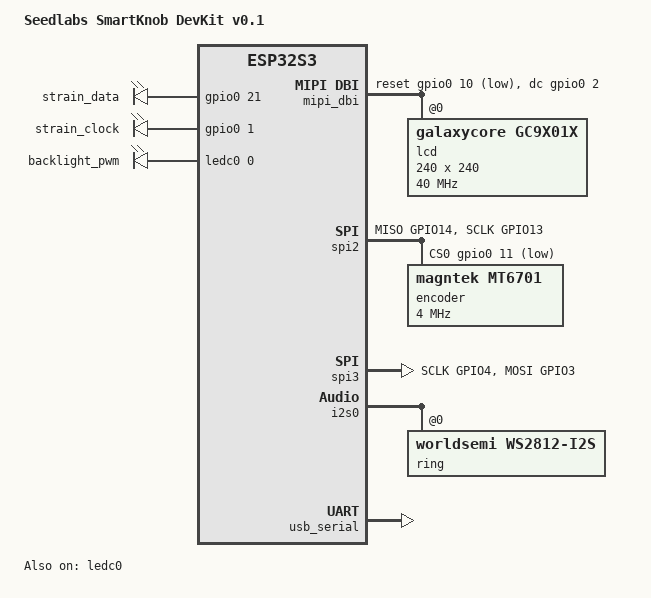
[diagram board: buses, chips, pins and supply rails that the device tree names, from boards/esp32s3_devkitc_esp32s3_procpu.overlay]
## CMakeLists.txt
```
cmake_minimum_required(VERSION 3.24)
# LVGL 9.6 changed its Kconfig choices and source layout. Compile the pinned
# library directly with our adapter; Zephyr 4.4's 9.5 integration cannot load it.
set(SK_LVGL_DIR "${CMAKE_CURRENT_LIST_DIR}/../../modules/lib/gui/lvgl" CACHE PATH "LVGL source")
set(ZEPHYR_MODULES "${CMAKE_CURRENT_LIST_DIR}/../../modules/hal/espressif")
list(APPEND DTS_ROOT ${CMAKE_CURRENT_LIST_DIR})
find_package(Zephyr REQUIRED HINTS $ENV{ZEPHYR_BASE})
project(smartknob)
file(GLOB_RECURSE LVGL_SOURCES CONFIGURE_DEPENDS "${SK_LVGL_DIR}/src/*.c")
zephyr_library_named(sk_lvgl)
zephyr_library_sources(${LVGL_SOURCES})
zephyr_library_include_directories(${SK_LVGL_DIR} ${SK_LVGL_DIR}/include)
zephyr_library_compile_definitions(LV_CONF_PATH="${CMAKE_CURRENT_SOURCE_DIR}/lv_conf.h")
target_link_libraries(app PUBLIC sk_lvgl)
target_include_directories(app PRIVATE ${SK_LVGL_DIR} ${SK_LVGL_DIR}/include)
target_compile_definitions(app PRIVATE LV_CONF_PATH="${CMAKE_CURRENT_SOURCE_DIR}/lv_conf.h")
target_include_directories(app PRIVATE ../core/include src)
target_sources(app PRIVATE src/main.c src/motor.c src/sensors.c src/storage.c
  ../core/src/project.c ../core/src/haptics.c ../core/src/leds.c
  ../core/src/protocol.c ../core/src/render.c ../core/src/encoder.c)
```

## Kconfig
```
mainmenu "SmartKnob"
source "Kconfig.zephyr"
config SK_PRESS_THRESHOLD
    int "HX711 press threshold in raw ADC counts"
    default 50000
    range 100 8000000
config SK_MOTOR_DEADTIME_NS
    int "Motor gate dead time in nanoseconds"
    default 500
    range 250 1500
```

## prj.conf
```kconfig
CONFIG_GPIO=y
CONFIG_SPI=y
CONFIG_I2S=y
CONFIG_DMA=y
CONFIG_LED_STRIP=y
CONFIG_DISPLAY=y
CONFIG_LVGL=n
CONFIG_SERIAL=y
CONFIG_UART_INTERRUPT_DRIVEN=y
CONFIG_CONSOLE=n
CONFIG_UART_CONSOLE=n
CONFIG_LOG=n
CONFIG_FLASH=y
CONFIG_FLASH_MAP=y
CONFIG_NVS=y
CONFIG_NVS_DATA_CRC=y
CONFIG_PWM=y
CONFIG_MCPWM_ESP32=n
CONFIG_FPU=y
CONFIG_FPU_SHARING=y
CONFIG_PICOLIBC=y
CONFIG_MAIN_STACK_SIZE=8192
CONFIG_MAIN_THREAD_PRIORITY=7
CONFIG_SYSTEM_WORKQUEUE_STACK_SIZE=2048
CONFIG_HEAP_MEM_POOL_SIZE=8192
CONFIG_SYS_CLOCK_TICKS_PER_SEC=1000
CONFIG_ESP_SPIRAM=n
CONFIG_WIFI=n
CONFIG_BT=n
CONFIG_WATCHDOG=y
```

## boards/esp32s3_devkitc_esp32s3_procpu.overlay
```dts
#include <zephyr/dt-bindings/display/panel.h>
#include <zephyr/dt-bindings/led/led.h>
#include <zephyr/dt-bindings/pwm/pwm.h>
/ {
    model = "Seedlabs SmartKnob DevKit v0.1";
    chosen { zephyr,display = &lcd; };
    aliases { led-strip = &ring; };
    strain {
        compatible = "gpio-leds";
        strain_data: data { gpios = <&gpio0 21 GPIO_ACTIVE_HIGH>; };
        strain_clock: clock { gpios = <&gpio0 1 GPIO_ACTIVE_HIGH>; };
    };
    backlight { compatible = "pwm-leds"; backlight_pwm: backlight { pwms = <&ledc0 0 PWM_USEC(25) PWM_POLARITY_NORMAL>; }; };
    mipi_dbi {
        compatible = "zephyr,mipi-dbi-spi";
        #address-cells = <1>;
        #size-cells = <0>;
        spi-dev = <&spi3>;
        dc-gpios = <&gpio0 2 GPIO_ACTIVE_HIGH>;
        reset-gpios = <&gpio0 10 GPIO_ACTIVE_LOW>;
        lcd: display@0 {
            compatible = "galaxycore,gc9x01x";
            reg = <0>;
            mipi-max-frequency = <40000000>;
            pixel-format = <PANEL_PIXEL_FORMAT_RGB_565>;
            width = <240>;
            height = <240>;
            display-inversion;
        };
    };
};
&pinctrl {
    knob_encoder: encoder {
        group1 { pinmux = <SPIM2_MISO_GPIO14>, <SPIM2_SCLK_GPIO13>; };
    };
    knob_display: display {
        group1 { pinmux = <SPIM3_SCLK_GPIO4>; };
        group2 { pinmux = <SPIM3_MOSI_GPIO3>; output-low; };
    };
    knob_leds: leds {
        group1 { pinmux = <I2S0_O_SD_GPIO12>, <I2S0_O_WS_GPIO40>, <I2S0_O_BCK_GPIO41>; };
    };
    knob_backlight: backlight {
        group1 { pinmux = <LEDC_CH0_GPIO5>; output-low; };
    };
};
&spi2 {
    status = "okay";
    pinctrl-0 = <&knob_encoder>;
    cs-gpios = <&gpio0 11 GPIO_ACTIVE_LOW>;
    encoder: encoder@0 { compatible = "magntek,mt6701"; reg = <0>; spi-max-frequency = <4000000>; spi-cs-setup-delay-ns = <1000>; };
};
&spi3 {
    status = "okay";
    pinctrl-0 = <&knob_display>;
    cs-gpios = <&gpio0 9 GPIO_ACTIVE_LOW>;
};
&i2s0 {
    status = "okay";
    pinctrl-0 = <&knob_leds>;
    #address-cells = <1>;
    #size-cells = <0>;
    ring: led_strip@0 {
        reg = <0>;
        compatible = "worldsemi,ws2812-i2s";
        chain-length = <72>;
        color-mapping = <LED_COLOR_ID_GREEN LED_COLOR_ID_RED LED_COLOR_ID_BLUE>;
        reset-delay = <80>;
        nibble-one = <0x0c>;
        nibble-zero = <0x08>;
        lrck-period = <10>;
    };
};
&ledc0 {
    status = "okay";
    pinctrl-0 = <&knob_backlight>;
    pinctrl-names = "default";
    #address-cells = <1>;
    #size-cells = <0>;
    channel@0 { reg = <0>; timer = <0>; };
};
&usb_serial { status = "okay"; };
&usb_otg { status = "disabled"; };
&uart0 { status = "disabled"; };
&wifi { status = "disabled"; };
&esp32_bt_hci { status = "disabled"; };
&psram0 { size = <DT_SIZE_M(8)>; };
&flash0 {
    reg = <0x0 DT_SIZE_M(16)>;
    partitions {
        /delete-node/ partition@3b0000;
        storage_partition: partition@f00000 { label = "storage"; reg = <0xf00000 0x40000>; };
    };
};

&dma { status = "okay"; };
```

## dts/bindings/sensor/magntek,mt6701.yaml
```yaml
description: MagnTek MT6701 24-bit SSI absolute angle encoder
compatible: "magntek,mt6701"
include: spi-device.yaml
```

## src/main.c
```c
#include "hardware.h"
#include "sk_protocol.h"
#include "sk_render.h"
#include <string.h>
#include <zephyr/drivers/display.h>
#include <zephyr/drivers/led_strip.h>
#include <zephyr/drivers/pwm.h>
#include <zephyr/drivers/uart.h>
#include <zephyr/drivers/watchdog.h>
#include <zephyr/sys/atomic.h>
#include <zephyr/sys/ring_buffer.h>

static sk_project projects[2];
static unsigned active;
static const sk_view *view;
static sk_renderer renderer;
static sk_protocol protocol;
static uint8_t system_faults;
static bool motor_ready, strain_ready;
static uint16_t presses;
static uint32_t flash_until;
static const struct device *serial = DEVICE_DT_GET(DT_NODELABEL(usb_serial));
static const struct device *strip = DEVICE_DT_GET(DT_ALIAS(led_strip));
static const struct device *display = DEVICE_DT_GET(DT_CHOSEN(zephyr_display));
static uint8_t draw_buffer[240 * 24 * 2] __aligned(4);
static uint32_t lv_ticks(void) {
    return k_uptime_get_32();
}
static void display_flush(lv_display_t *disp, const lv_area_t *area, uint8_t *map) {
    struct display_buffer_descriptor desc = {.width = area->x2 - area->x1 + 1,
                                             .height = area->y2 - area->y1 + 1};
    desc.pitch = desc.width;
    desc.buf_size = desc.width * desc.height * 2;
    lv_draw_sw_rgb565_swap(map, desc.width * desc.height);
    if (display_write(display, area->x1, area->y1, &desc, map))
        system_faults |= FAULT_DISPLAY;
    lv_display_flush_ready(disp);
}
static const struct pwm_dt_spec backlight = PWM_DT_SPEC_GET(DT_NODELABEL(backlight_pwm));
RING_BUF_DECLARE(serial_rx, 8192);
static atomic_t rx_overflow;
static void serial_isr(const struct device *dev, void *arg) {
    (void)arg;
    while (uart_irq_update(dev) && uart_irq_rx_ready(dev)) {
        uint8_t bytes[64];
        int n = uart_fifo_read(dev, bytes, sizeof(bytes));
        if (n <= 0)
            break;
        if (ring_buf_put(&serial_rx, bytes, n) != (uint32_t)n)
            atomic_set(&rx_overflow, 1);
    }
}
static void send(void *ctx, const uint8_t *bytes, size_t len) {
    (void)ctx;
    for (size_t i = 0; i < len; i++)
        uart_poll_out(serial, bytes[i]);
}
typedef struct {
    sk_led_config leds;
    sk_haptic_config haptic;
    int32_t position;
    float sub;
    uint32_t flash;
} led_state;
static led_state ring_state;
static struct k_spinlock led_lock;
static atomic_t led_fault;
static struct k_thread led_thread;
K_THREAD_STACK_DEFINE(led_stack, 2048);
static void led_run(void *a, void *b, void *c) {
    (void)a;
    (void)b;
    (void)c;
    while (true) {
        led_state s;
        k_spinlock_key_t key = k_spin_lock(&led_lock);
        s = ring_state;
        k_spin_unlock(&led_lock, key);
        sk_rgb colors[72];
        struct led_rgb pixels[72];
        sk_led_render(&s.leds, &s.haptic, s.position, s.sub, k_uptime_get_32(), s.flash, colors);
        for (int i = 0; i < 72; i++)
            pixels[i] = (struct led_rgb){.r = colors[i].r, .g = colors[i].g, .b = colors[i].b};
        atomic_set(&led_fault, led_strip_update_rgb(strip, pixels, 72) != 0);
        k_sleep(K_MSEC(33));
    }
}
static bool select_view(uint16_t id) {
    const sk_view *next = sk_find_view(&projects[active], id);
    if (!next)
        return false;
    motor_status s;
    motor_snapshot(&s);
    if (s.calibration == 1)
        return false;
    if (motor_ready && !motor_configure(&next->haptic))
        return false;
    view = next;
    sk_render_view(&renderer, view);
    if (view->leds.mode_flash)
        flash_until = k_uptime_get_32() + 180;
    return true;
}
static bool apply(void *ctx, const uint8_t *bytes, size_t len) {
    (void)ctx;
    motor_status s;
    motor_snapshot(&s);
    if (s.calibration == 1)
        return false;
    unsigned next = 1 - active;
    if (!sk_project_decode(bytes, len, &projects[next]))
        return false;
    const sk_view *new_view = sk_find_view(&projects[next], projects[next].start_view);
    if (motor_ready && !motor_configure(&new_view->haptic))
        return false;
    active = next;
    view = new_view;
    sk_render_view(&renderer, view);
    if (view->leds.mode_flash)
        flash_until = k_uptime_get_32() + 180;
    return true;
}
static bool save(void *ctx, const uint8_t *bytes, size_t len) {
    (void)ctx;
    motor_status s;
    motor_snapshot(&s);
    if (s.calibration == 1)
        return false;
    if (motor_ready && !motor_pause(true))
        return false;
    bool ok = storage_save(bytes, len);
    if (motor_ready)
        motor_pause(false);
    if (!ok)
        system_faults |= FAULT_STORAGE;
    return ok;
}
static void put32(uint8_t *p, uint32_t v) {
    for (int i = 0; i < 4; i++)
        p[i] = v >> (8 * i);
}
static void putfloat(uint8_t *p, float v) {
    uint32_t bits;
    memcpy(&bits, &v, 4);
    put32(p, bits);
}
static uint8_t command(void *ctx, uint8_t op, const uint8_t *bytes, size_t len, uint8_t *out,
                       size_t *out_len) {
    (void)ctx;
    if (op == SK_SELECT) {
        if (len != 2)
            return SK_INVALID;
        return select_view(bytes[0] | ((uint16_t)bytes[1] << 8)) ? SK_OK : SK_BUSY;
    }
    if (len)
        return SK_INVALID;
    if (op == SK_ENCODER_DIAGNOSTICS) {
        *out_len = encoder_diagnostic_text((char *)out, SK_MAX_PAYLOAD - 1);
        return SK_OK;
    }
    if (op == SK_STATE) {
        motor_status s;
        motor_snapshot(&s);
        memset(out, 0, 28);
        out[0] = view->id;
        out[1] = view->id >> 8;
        put32(out + 2, (uint32_t)s.position);
        putfloat(out + 6, s.sub);
        out[10] = s.faults | system_faults | (strain_failed() ? FAULT_STRAIN : 0) |
                  (atomic_get(&led_fault) ? FAULT_LED : 0);
        out[11] = s.calibration;
        put32(out + 12, s.loops);
        putfloat(out + 16, s.voltage);
        putfloat(out + 20, s.max_loop_us);
        out[24] = presses;
        out[25] = presses >> 8;
        *out_len = 28;
        return SK_OK;
    }
    if (op == SK_TARE)
        return strain_ready && strain_tare() ? SK_OK : SK_HARDWARE;
    if (!motor_ready)
        return SK_HARDWARE;
    if (op == SK_CALIBRATE)
        return motor_calibrate() ? SK_OK : SK_BUSY;
    if (op == SK_STOP)
        return motor_enable(false) ? SK_OK : SK_BUSY;
    if (op == SK_ENABLE) {
        motor_status s;
        motor_snapshot(&s);
        if (s.calibration != 2)
            return SK_HARDWARE;
        return motor_enable(true) ? SK_OK : SK_BUSY;
    }
    return SK_INVALID;
}
int main(void) {
    if (!device_is_ready(display))
        return -ENODEV;
    lv_init();
    lv_tick_set_cb(lv_ticks);
    lv_display_t *disp = lv_display_create(240, 240);
    lv_display_set_color_format(disp, LV_COLOR_FORMAT_RGB565);
    lv_display_set_buffers(disp, draw_buffer, NULL, sizeof(draw_buffer),
                           LV_DISPLAY_RENDER_MODE_PARTIAL);
    lv_display_set_flush_cb(disp, display_flush);
    if (storage_init())
        system_faults |= FAULT_STORAGE;
    motor_ready = motor_start() == 0;
    if (!motor_ready)
        system_faults |= FAULT_MOTOR;
    strain_ready = strain_start() == 0;
    if (!strain_ready)
        system_faults |= FAULT_STRAIN;
    sk_project_default(&projects[0]);
    sk_protocol_init(
        &protocol,
        (sk_protocol_ops){.send = send, .apply = apply, .save = save, .command = command});
    size_t len = storage_load(protocol.active, sizeof(protocol.active));
    if (len && sk_project_decode(protocol.active, len, &projects[1])) {
        active = 1;
        protocol.active_len = len;
    }
    select_view(projects[active].start_view);
    display_blanking_off(display);
    if (pwm_is_ready_dt(&backlight))
        pwm_set_pulse_dt(&backlight, backlight.period / 2);
    if (device_is_ready(serial)) {
        uart_irq_callback_user_data_set(serial, serial_isr, NULL);
        uart_irq_rx_enable(serial);
    }
    if (device_is_ready(strip))
        k_thread_create(&led_thread, led_stack, K_THREAD_STACK_SIZEOF(led_stack), led_run, NULL,
                        NULL, NULL, 8, K_FP_REGS, K_NO_WAIT);
    else
        system_faults |= FAULT_LED;
    const struct device *watchdog = DEVICE_DT_GET(DT_ALIAS(watchdog0));
    struct wdt_timeout_cfg timeout = {.window = {.min = 0, .max = 2000},
                                      .flags = WDT_FLAG_RESET_SOC};
    int watchdog_channel = wdt_install_timeout(watchdog, &timeout);
    if (watchdog_channel >= 0)
        wdt_setup(watchdog, WDT_OPT_PAUSE_HALTED_BY_DBG);
    uint32_t last_frame = 0;
    uint32_t last_calibration_save = 0, motor_seen_at = k_uptime_get_32(), motor_seen_loops = 0;
    while (true) {
        if (atomic_cas(&rx_overflow, 1, 0)) {
            unsigned key = irq_lock();
            ring_buf_reset(&serial_rx);
            irq_unlock(key);
            protocol.rx_len = 0;
            protocol.uploading = false;
        }
        uint8_t bytes[512];
        uint32_t n = ring_buf_get(&serial_rx, bytes, sizeof(bytes));
        if (n)
            sk_protocol_feed(&protocol, bytes, n);
        uint8_t event;
        while ((event = strain_event())) {
            if (event == 1) {
                presses++;
                motor_pulse(true, false);
                if (view->leds.press_flash)
                    flash_until = k_uptime_get_32() + 180;
            } else if (event == 3) {
                motor_pulse(true, true);
                if (view->on_long_press)
                    select_view(view->on_long_press);
            } else if (event == 2) {
                motor_pulse(false, false);
                if (view->on_press)
                    select_view(view->on_press);
            } else if (event == 4)
                motor_pulse(false, false);
        }
        if (motor_ready && motor_calibration_dirty() &&
            (last_calibration_save == 0 || k_uptime_get_32() - last_calibration_save >= 5000)) {
            last_calibration_save = k_uptime_get_32();
            sk_calibration cal;
            if (motor_get_calibration(&cal) && motor_pause(true)) {
                if (storage_save_calibration(&cal))
                    motor_calibration_saved();
                else
                    system_faults |= FAULT_STORAGE;
                motor_pause(false);
            }
        }
        uint32_t now = k_uptime_get_32();
        if (now - last_frame >= 33) {
            last_frame = now;
            motor_status s;
            motor_snapshot(&s);
            sk_render_value(&renderer, s.position, s.sub);
            lv_timer_handler();
            k_spinlock_key_t key = k_spin_lock(&led_lock);
            ring_state = (led_state){.leds = view->leds,
                                     .haptic = view->haptic,
                                     .position = s.position,
                                     .sub = s.sub,
                                     .flash = flash_until};
            k_spin_unlock(&led_lock, key);
        }
        motor_status alive;
        motor_snapshot(&alive);
        if (alive.loops != motor_seen_loops) {
            motor_seen_loops = alive.loops;
            motor_seen_at = now;
        }
        if (watchdog_channel >= 0 && (!motor_ready || now - motor_seen_at < 200))
            wdt_feed(watchdog, watchdog_channel);
        k_sleep(K_MSEC(1));
    }
}
```

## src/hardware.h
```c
#ifndef SK_HARDWARE_H
#define SK_HARDWARE_H
#include "sk.h"
#include <zephyr/kernel.h>
enum {
    FAULT_ENCODER = 1,
    FAULT_TIMING = 2,
    FAULT_MOTOR = 4,
    FAULT_STRAIN = 8,
    FAULT_LED = 16,
    FAULT_STORAGE = 32,
    FAULT_DISPLAY = 64
};
typedef struct {
    int32_t position;
    float sub, voltage, max_loop_us;
    uint32_t loops;
    uint8_t faults, calibration;
} motor_status;
int motor_start(void);
bool motor_configure(const sk_haptic_config *c);
bool motor_calibrate(void);
bool motor_enable(bool enable);
bool motor_pause(bool pause);
void motor_pulse(bool pressed, bool long_press);
void motor_snapshot(motor_status *out);
bool motor_get_calibration(sk_calibration *out);
bool motor_calibration_dirty(void);
void motor_calibration_saved(void);
int encoder_init(void);
int encoder_read(float *angle);
size_t encoder_diagnostic_text(char *out, size_t size);
int strain_start(void);
bool strain_tare(void);
uint8_t strain_event(void); /* 1 press, 2 release, 3 long, 4 long release */
bool strain_failed(void);
int storage_init(void);
size_t storage_load(uint8_t *out, size_t max);
bool storage_save(const uint8_t *data, size_t len);
bool storage_load_calibration(sk_calibration *out);
bool storage_save_calibration(const sk_calibration *c);
#endif
```

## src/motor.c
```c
#include "hardware.h"
#include <esp_rom_gpio.h>
#include <hal/mcpwm_ll.h>
#include <math.h>
#include <soc/gpio_sig_map.h>
#include <string.h>
#include <zephyr/drivers/clock_control.h>
#include <zephyr/drivers/gpio.h>
#include <zephyr/sys/atomic.h>

/* Three operators share one 160 MHz center-aligned timer (20 kHz).
 * Two compare edges per phase produce complementary outputs with 500 ns
 * non-overlap on both transitions. Updates latch together at timer zero.
 * This controller exclusively owns MCPWM0; the generic PWM driver is disabled. */
#define PWM_PEAK 4000u
static const uint8_t pins[6] = {8, 16, 18, 7, 17, 15};
static mcpwm_dev_t *pwm;
static const struct device *gpio = DEVICE_DT_GET(DT_NODELABEL(gpio0));
static bool pwm_ready, pwm_enabled;
static void gates_off(void) {
    if (!pwm_ready || !pwm_enabled)
        return;
    for (int phase = 0; phase < 3; phase++)
        for (int gen = 0; gen < 2; gen++)
            mcpwm_ll_gen_set_continue_force_level(pwm, phase, gen, 0);
    pwm_enabled = false;
}
static void gates_on(void) {
    if (!pwm_ready || pwm_enabled)
        return;
    for (int phase = 0; phase < 3; phase++)
        for (int gen = 0; gen < 2; gen++)
            mcpwm_ll_gen_disable_continue_force_action(pwm, phase, gen);
    pwm_enabled = true;
}
static void duties(const float duty[3]) {
    unsigned dead = (CONFIG_SK_MOTOR_DEADTIME_NS * 160u + 999u) / 1000u;
    unsigned key = irq_lock();
    /* Freeze all comparator latches while assembling the next vector. */
    pwm->update_cfg.global_up_en = 0;
    for (int phase = 0; phase < 3; phase++) {
        unsigned a, b;
        sk_pwm_compare(duty[phase], PWM_PEAK, dead, &a, &b);
        mcpwm_ll_operator_set_compare_value(pwm, phase, 0, a);
        mcpwm_ll_operator_set_compare_value(pwm, phase, 1, b);
    }
    pwm->update_cfg.global_up_en = 1;
    irq_unlock(key);
}
static int pwm_init(void) {
    if (!device_is_ready(gpio))
        return -ENODEV;
    for (int i = 0; i < 6; i++) {
        int rc = gpio_pin_configure(gpio, pins[i], GPIO_OUTPUT_INACTIVE);
        if (rc)
            return rc;
    }
    const struct device *clock = DEVICE_DT_GET(DT_CLOCKS_CTLR(DT_NODELABEL(mcpwm0)));
    int rc = clock_control_on(clock,
                              (clock_control_subsys_t)DT_CLOCKS_CELL(DT_NODELABEL(mcpwm0), offset));
    if (rc)
        return rc;
    pwm = MCPWM_LL_GET_HW(0);
    mcpwm_ll_group_enable_clock(0, true);
    mcpwm_ll_group_set_clock_source(0, MCPWM_TIMER_CLK_SRC_DEFAULT);
    mcpwm_ll_group_set_clock_prescale(0, 1);
    mcpwm_ll_timer_set_clock_prescale(pwm, 0, 1);
    mcpwm_ll_timer_set_count_mode(pwm, 0, MCPWM_TIMER_COUNT_MODE_UP_DOWN);
    mcpwm_ll_timer_set_peak(pwm, 0, PWM_PEAK, false);
    mcpwm_ll_timer_update_period_at_once(pwm, 0);
    for (int phase = 0; phase < 3; phase++) {
        mcpwm_ll_operator_connect_timer(pwm, phase, 0);
        for (int gen = 0; gen < 2; gen++) {
            mcpwm_ll_generator_reset_actions(pwm, phase, gen);
            mcpwm_ll_gen_set_continue_force_level(pwm, phase, gen, 0);
            mcpwm_ll_deadtime_bypass_path(pwm, phase, gen, true);
            mcpwm_ll_deadtime_invert_outpath(pwm, phase, gen, false);
            mcpwm_ll_deadtime_swap_out_path(pwm, phase, gen, false);
            mcpwm_ll_operator_stop_update_compare(pwm, phase, gen, false);
            mcpwm_ll_operator_enable_update_compare_on_tez(pwm, phase, gen, true);
            mcpwm_ll_generator_set_action_on_timer_event(
                pwm, phase, gen, MCPWM_TIMER_DIRECTION_UP, MCPWM_TIMER_EVENT_EMPTY,
                gen ? MCPWM_GEN_ACTION_LOW : MCPWM_GEN_ACTION_HIGH);
        }
        mcpwm_ll_generator_set_action_on_compare_event(pwm, phase, 0, MCPWM_TIMER_DIRECTION_UP, 0,
                                                       MCPWM_GEN_ACTION_LOW);
        mcpwm_ll_generator_set_action_on_compare_event(pwm, phase, 0, MCPWM_TIMER_DIRECTION_DOWN, 0,
                                                       MCPWM_GEN_ACTION_HIGH);
        mcpwm_ll_generator_set_action_on_compare_event(pwm, phase, 1, MCPWM_TIMER_DIRECTION_UP, 1,
                                                       MCPWM_GEN_ACTION_HIGH);
        mcpwm_ll_generator_set_action_on_compare_event(pwm, phase, 1, MCPWM_TIMER_DIRECTION_DOWN, 1,
                                                       MCPWM_GEN_ACTION_LOW);
        esp_rom_gpio_connect_out_signal(pins[phase * 2], PWM0_OUT0A_IDX + phase * 2, false, false);
        esp_rom_gpio_connect_out_signal(pins[phase * 2 + 1], PWM0_OUT0B_IDX + phase * 2, false,
                                        false);
    }
    pwm_ready = true;
    const float neutral[3] = {.5f, .5f, .5f};
    duties(neutral);
    mcpwm_ll_group_enable_shadow_mode(pwm);
    mcpwm_ll_group_flush_shadow(pwm);
    mcpwm_ll_timer_set_start_stop_command(pwm, 0, MCPWM_TIMER_START_NO_STOP);
    gates_off();
    return 0;
}

enum command_type { CMD_CONFIG, CMD_PULSE, CMD_CALIBRATE, CMD_ENABLE };
typedef struct {
    uint8_t type;
    bool press, long_press;
    sk_haptic_config config;
} motor_command;
K_MSGQ_DEFINE(commands, sizeof(motor_command), 8, 4);
static struct k_thread thread;
K_THREAD_STACK_DEFINE(stack, 4096);
static struct k_spinlock status_lock;
static motor_status status;
static sk_calibration calibration;
static sk_haptic_state haptic;
static atomic_t pause_requested, paused, enabled, dirty, stop_requested;
K_SEM_DEFINE(control_tick, 0, 1);
static void timer_tick(struct k_timer *timer) {
    (void)timer;
    k_sem_give(&control_tick);
}
K_TIMER_DEFINE(control_timer, timer_tick, NULL);
static uint8_t calib_phase;
static float electrical, previous_raw, travel, start_travel, calib_start, end_mechanical;
static uint32_t calibration_tick;
static void snapshot(float elapsed, float voltage) {
    k_spinlock_key_t key = k_spin_lock(&status_lock);
    status.position = haptic.position;
    status.sub = haptic.sub_position;
    status.voltage = voltage;
    status.loops++;
    if (elapsed > status.max_loop_us)
        status.max_loop_us = elapsed;
    status.calibration = calib_phase ? 1 : calibration.valid ? 2 : 0;
    k_spin_unlock(&status_lock, key);
}
static void fault(uint8_t value) {
    k_spinlock_key_t key = k_spin_lock(&status_lock);
    status.faults |= value;
    k_spin_unlock(&status_lock, key);
    gates_off();
    atomic_clear(&enabled);
    calib_phase = 0;
}
static void drive(float q, float d, float angle) {
    float duty[3];
    sk_foc(q, d, angle, 5, duty);
    duties(duty);
    gates_on();
}
static void calibration_step(float raw, float feedback_angle) {
    /* Align d-axis, sweep three electrical turns, measure pole pairs, then
     * return to electrical zero. This state machine never blocks the loop. */
    calibration_tick++;
    travel += remainderf(raw - previous_raw, SK_TAU);
    previous_raw = raw;
    if (calib_phase == 1) {
        drive(0, 1.0f, 0);
        if (calibration_tick >= 800) {
            start_travel = travel;
            calib_start = raw;
            electrical = 0;
            calib_phase = 2;
            calibration_tick = 0;
        }
    } else if (calib_phase == 2) {
        electrical += .006f;
        drive(0, 1.0f, electrical);
        if (electrical >= 3 * SK_TAU) {
            calib_phase = 3;
            calibration_tick = 0;
        }
    } else if (calib_phase == 3) {
        drive(0, 1.0f, 3 * SK_TAU);
        if (calibration_tick >= 800) {
            float moved = travel - start_travel;
            float pairs = 3 * SK_TAU / fabsf(moved);
            if (!isfinite(pairs) || pairs < 2.8f || pairs > 12.2f) {
                fault(FAULT_MOTOR);
                return;
            }
            int rounded = (int)lroundf(pairs);
            if (!isfinite(pairs) || rounded < 3 || rounded > 12 || fabsf(pairs - rounded) > .2f) {
                fault(FAULT_MOTOR);
                return;
            }
            k_spinlock_key_t cal_key = k_spin_lock(&status_lock);
            calibration = (sk_calibration){
                .pole_pairs = rounded, .direction = moved > 0 ? 1 : -1, .valid = false};
            k_spin_unlock(&status_lock, cal_key);
            end_mechanical = raw;
            /* Both alignment endpoints must agree in electrical coordinates. */
            if (fabsf(remainderf((raw - calib_start) * rounded, SK_TAU)) > .35f) {
                fault(FAULT_MOTOR);
                return;
            }
            cal_key = k_spin_lock(&status_lock);
            calibration.zero_electrical = remainderf(raw * rounded * calibration.direction, SK_TAU);
            k_spin_unlock(&status_lock, cal_key);
            calib_phase = 4;
            calibration_tick = 0;
        }
    } else {
        drive(0, 1.0f, 0);
        if (calibration_tick >= 300) {
            if (fabsf(remainderf(raw - end_mechanical, SK_TAU)) > .1f) {
                fault(FAULT_MOTOR);
                return;
            }
            k_spinlock_key_t key = k_spin_lock(&status_lock);
            calibration.valid = true;
            k_spin_unlock(&status_lock, key);
            atomic_set(&dirty, 1);
            calib_phase = 0;
            sk_haptic_init(&haptic, &haptic.config, -feedback_angle);
            gates_off();
        }
    }
}
static void run(void *a, void *b, void *c) {
    (void)a;
    (void)b;
    (void)c;
    float raw = 0;
    sk_haptic_config default_config = {
        .mode = SK_FREE, .width_deg = 6, .snap = 1.1f, .endstop = .8f};
    sk_haptic_init(&haptic, &default_config, 0);
    /* The Xtensa timer has a 32-bit CCOUNT, not a 64-bit cycle counter.
     * Unsigned deltas handle its wrap every ~17.9 s at 240 MHz. */
    uint32_t last = k_cycle_get_32();
    uint32_t last_good = last;
    sk_angle_filter angle_filter = {0};
    sk_encoder_health encoder_health = {0};
    while (true) {
        k_sem_take(&control_tick, K_FOREVER);
        uint32_t begin = k_cycle_get_32();
        float dt = (float)k_cyc_to_us_floor64((uint32_t)(begin - last)) / 1000000;
        last = begin;
        if (atomic_get(&stop_requested)) {
            gates_off();
            atomic_clear(&enabled);
            calib_phase = 0;
            k_msgq_purge(&commands);
            atomic_clear(&stop_requested);
        }
        if (atomic_get(&pause_requested)) {
            gates_off();
            atomic_set(&paused, 1);
            continue;
        }
        if (atomic_cas(&paused, 1, 0)) {
            last = k_cycle_get_32();
            dt = .001f;
            encoder_health = (sk_encoder_health){0};
            last_good = begin;
            angle_filter.initialized = false;
        }
        int rc = encoder_read(&raw);
        bool latch_encoder = sk_encoder_should_latch(&encoder_health, rc == 0, k_uptime_get_32());
        if (rc) {
            /* Never drive from a rejected angle, even during a transient burst. */
            gates_off();
            if (latch_encoder)
                fault(FAULT_ENCODER);
            uint32_t elapsed = k_cyc_to_us_floor64((uint32_t)(k_cycle_get_32() - begin));
            snapshot(fmaxf(elapsed, dt * 1000000), 0);
            continue;
        }
        float sample_dt = (float)k_cyc_to_us_floor64((uint32_t)(begin - last_good)) / 1000000;
        last_good = begin;
        if (sample_dt <= 0)
            sample_dt = dt;
        float feedback_angle = sk_feedback_angle(&angle_filter, raw, sample_dt);
        motor_command cmd;
        while (!k_msgq_get(&commands, &cmd, K_NO_WAIT)) {
            if (cmd.type == CMD_CONFIG) {
                if (!calib_phase)
                    sk_haptic_init(&haptic, &cmd.config, -feedback_angle);
            } else if (cmd.type == CMD_PULSE) {
                if (!calib_phase)
                    sk_haptic_pulse(&haptic, cmd.press, cmd.long_press);
            } else if (cmd.type == CMD_ENABLE) {
                if (calibration.valid) {
                    k_spinlock_key_t key = k_spin_lock(&status_lock);
                    status.faults = 0;
                    k_spin_unlock(&status_lock, key);
                    atomic_set(&enabled, 1);
                    sk_haptic_init(&haptic, &haptic.config, -feedback_angle);
                }
            } else {
                k_spinlock_key_t key = k_spin_lock(&status_lock);
                status.faults = 0;
                calibration.valid = false;
                k_spin_unlock(&status_lock, key);
                calib_phase = 1;
                calibration_tick = 0;
                previous_raw = raw;
                travel = 0;
                atomic_set(&enabled, 1);
            }
        }
        float q = 0;
        if (atomic_get(&enabled)) {
            if (dt > .01f || dt <= 0)
                fault(FAULT_TIMING);
            else if (calib_phase)
                calibration_step(raw, feedback_angle);
            else if (calibration.valid) {
                q = sk_haptic_step(&haptic, -feedback_angle, sample_dt);
                /* UI clockwise sign is opposite the raw encoder sign. */
                float voltage = -q * calibration.direction;
                float angle = raw * calibration.pole_pairs * calibration.direction -
                              calibration.zero_electrical;
                /* Keep synchronous PWM at zero torque rather than repeatedly
                 * switching between a floating motor and active drive. */
                drive(voltage, 0, angle);
            } else
                gates_off();
        } else {
            sk_haptic_step(&haptic, -feedback_angle, fminf(fmaxf(sample_dt, .0001f), .02f));
            gates_off();
        }
        uint32_t elapsed = k_cyc_to_us_floor64((uint32_t)(k_cycle_get_32() - begin));
        snapshot(fmaxf(elapsed, dt * 1000000), q);
        if (elapsed > 3000 && atomic_get(&enabled))
            fault(FAULT_TIMING);
    }
}
int motor_start(void) {
    int rc = encoder_init();
    if (rc)
        return rc;
    rc = pwm_init();
    if (rc)
        return rc;
    storage_load_calibration(&calibration);
    atomic_set(&enabled, calibration.valid);
    k_timer_start(&control_timer, K_MSEC(1), K_MSEC(1));
    k_thread_create(&thread, stack, K_THREAD_STACK_SIZEOF(stack), run, NULL, NULL, NULL, 1,
                    K_FP_REGS, K_NO_WAIT);
    return 0;
}
bool motor_configure(const sk_haptic_config *c) {
    if (!sk_haptic_valid(c))
        return false;
    motor_command cmd = {.type = CMD_CONFIG, .config = *c};
    return k_msgq_put(&commands, &cmd, K_NO_WAIT) == 0;
}
void motor_pulse(bool press, bool long_press) {
    motor_command cmd = {.type = CMD_PULSE, .press = press, .long_press = long_press};
    k_msgq_put(&commands, &cmd, K_NO_WAIT);
}
bool motor_calibrate(void) {
    motor_status s;
    motor_snapshot(&s);
    if (s.calibration == 1)
        return false;
    motor_command cmd = {.type = CMD_CALIBRATE};
    return k_msgq_put(&commands, &cmd, K_NO_WAIT) == 0;
}
bool motor_enable(bool enable) {
    if (!enable) {
        atomic_set(&stop_requested, 1);
        return true;
    }
    motor_command cmd = {.type = CMD_ENABLE};
    return k_msgq_put(&commands, &cmd, K_NO_WAIT) == 0;
}
bool motor_pause(bool pause) {
    atomic_set(&pause_requested, pause);
    if (!pause)
        return true;
    for (int i = 0; i < 100; i++) {
        if (atomic_get(&paused))
            return true;
        k_sleep(K_MSEC(1));
    }
    atomic_clear(&pause_requested);
    return false;
}
void motor_snapshot(motor_status *out) {
    k_spinlock_key_t key = k_spin_lock(&status_lock);
    *out = status;
    k_spin_unlock(&status_lock, key);
}
bool motor_get_calibration(sk_calibration *out) {
    k_spinlock_key_t key = k_spin_lock(&status_lock);
    *out = calibration;
    k_spin_unlock(&status_lock, key);
    return out->valid;
}
bool motor_calibration_dirty(void) {
    return atomic_get(&dirty) != 0;
}
void motor_calibration_saved(void) {
    atomic_clear(&dirty);
}
```

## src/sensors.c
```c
#include "hardware.h"
#include <math.h>
#include <string.h>
#include <zephyr/drivers/gpio.h>
#include <zephyr/drivers/spi.h>
#include <zephyr/sys/atomic.h>
#include <zephyr/sys/printk.h>
static const struct spi_dt_spec encoder =
    SPI_DT_SPEC_GET(DT_NODELABEL(encoder), SPI_OP_MODE_MASTER | SPI_WORD_SET(8) | SPI_MODE_CPHA);
static const struct gpio_dt_spec strain_data = GPIO_DT_SPEC_GET(DT_NODELABEL(strain_data), gpios);
static const struct gpio_dt_spec strain_clock = GPIO_DT_SPEC_GET(DT_NODELABEL(strain_clock), gpios);
static struct k_spinlock encoder_lock;
static struct {
    uint32_t reads, valid, spi_errors, crc_errors, status_errors;
    int spi_rc;
    uint8_t raw[3], expected_crc;
    uint8_t last_bad[3], last_reason;
    uint32_t last_bad_ms;
    uint32_t bad_run, max_bad_run;
} encoder_diag;
int encoder_init(void) {
    return spi_is_ready_dt(&encoder) ? 0 : -ENODEV;
}
int encoder_read(float *angle) {
    uint8_t bytes[3] = {0};
    struct spi_buf buffer = {.buf = bytes, .len = 3};
    struct spi_buf_set rx = {.buffers = &buffer, .count = 1};
    int rc = spi_read_dt(&encoder, &rx);
    uint8_t expected_crc = sk_mt6701_crc6(bytes);
    bool valid = !rc && sk_mt6701_decode(bytes, angle);
    k_spinlock_key_t key = k_spin_lock(&encoder_lock);
    encoder_diag.reads++;
    encoder_diag.spi_rc = rc;
    memcpy(encoder_diag.raw, bytes, sizeof(bytes));
    encoder_diag.expected_crc = expected_crc;
    if (rc)
        encoder_diag.spi_errors++;
    else if (expected_crc != (bytes[2] & 63))
        encoder_diag.crc_errors++;
    else if (!valid)
        encoder_diag.status_errors++;
    else {
        encoder_diag.valid++;
        encoder_diag.bad_run = 0;
    }
    if (!valid) {
        encoder_diag.bad_run++;
        encoder_diag.max_bad_run = MAX(encoder_diag.max_bad_run, encoder_diag.bad_run);
        memcpy(encoder_diag.last_bad, bytes, sizeof(bytes));
        encoder_diag.last_reason = rc                                ? 1
                                   : expected_crc != (bytes[2] & 63) ? 2
                                   : (bytes[1] & 2)                  ? 3
                                                                     : 4;
        encoder_diag.last_bad_ms = k_uptime_get_32();
    }
    k_spin_unlock(&encoder_lock, key);
    if (rc)
        return rc;
    if (!valid)
        return -EIO;
    return 0;
}
size_t encoder_diagnostic_text(char *out, size_t size) {
    if (!size)
        return 0;
    k_spinlock_key_t key = k_spin_lock(&encoder_lock);
    __typeof__(encoder_diag) d = encoder_diag;
    k_spin_unlock(&encoder_lock, key);
    int written =
        snprintk(out, size,
                 "Encoder: spi_rc=%d raw=%02X%02X%02X crc=%02X/%02X "
                 "loss=%u field=%u reads=%u valid=%u spi_err=%u crc_err=%u status_err=%u "
                 "last_bad=%02X%02X%02X reason=%s age_ms=%u bad_run=%u max_bad_run=%u",
                 d.spi_rc, d.raw[0], d.raw[1], d.raw[2], d.raw[2] & 63, d.expected_crc,
                 (d.raw[1] >> 1) & 1, (d.raw[2] >> 6) & 3, d.reads, d.valid, d.spi_errors,
                 d.crc_errors, d.status_errors, d.last_bad[0], d.last_bad[1], d.last_bad[2],
                 (const char *[]){"none", "spi", "crc", "loss", "reserved"}[d.last_reason],
                 d.last_reason ? k_uptime_get_32() - d.last_bad_ms : 0, d.bad_run, d.max_bad_run);
    return written > 0 ? MIN((size_t)written, size - 1) : 0;
}
K_MSGQ_DEFINE(press_events, sizeof(uint8_t), 16, 1);
static atomic_t tare_requested, strain_fault;
static struct k_thread strain_thread;
K_THREAD_STACK_DEFINE(strain_stack, 2048);
static int read_strain(int32_t *value) {
    int ready = gpio_pin_get_dt(&strain_data);
    if (ready < 0)
        return ready;
    if (ready)
        return -EAGAIN;
    uint32_t raw = 0;
    /* HX711 powers down if SCK stays high >60 us. Mask IRQs per pulse only. */
    for (int i = 0; i < 24; i++) {
        unsigned key = irq_lock();
        gpio_pin_set_dt(&strain_clock, 1);
        k_busy_wait(1);
        int bit = gpio_pin_get_dt(&strain_data);
        gpio_pin_set_dt(&strain_clock, 0);
        irq_unlock(key);
        k_busy_wait(1);
        if (bit < 0)
            return bit;
        raw = (raw << 1) | (bit != 0);
    }
    unsigned key = irq_lock();
    gpio_pin_set_dt(&strain_clock, 1);
    k_busy_wait(1);
    gpio_pin_set_dt(&strain_clock, 0);
    irq_unlock(key);
    *value = (int32_t)(raw & 0x800000 ? raw | 0xff000000 : raw);
    return 0;
}
static void emit(uint8_t event) {
    if (k_msgq_put(&press_events, &event, K_NO_WAIT))
        atomic_set(&strain_fault, 1);
}
static void strain_run(void *a, void *b, void *c) {
    (void)a;
    (void)b;
    (void)c;
    int64_t tare_sum = 0;
    unsigned samples = 0;
    float zero = 0, filtered = 0;
    bool pressed = false, long_sent = false;
    uint32_t pressed_at = 0, last_sample = k_uptime_get_32();
    while (true) {
        if (atomic_cas(&tare_requested, 1, 0)) {
            samples = 0;
            tare_sum = 0;
            if (pressed)
                emit(long_sent ? 4 : 2);
            pressed = false;
            long_sent = false;
        }
        int32_t raw = 0;
        int rc = read_strain(&raw);
        uint32_t now = k_uptime_get_32();
        if (!rc) {
            last_sample = now;
            atomic_clear(&strain_fault);
            if (samples < 16) {
                tare_sum += raw;
                samples++;
                if (samples == 16) {
                    zero = (float)tare_sum / 16;
                    filtered = zero;
                }
            } else {
                filtered += .35f * ((float)raw - filtered);
                /* Raw threshold is configurable; factory load-cell gains vary. */
                float force = fabsf(filtered - zero);
                if (!pressed && force > CONFIG_SK_PRESS_THRESHOLD) {
                    pressed = true;
                    long_sent = false;
                    pressed_at = now;
                    emit(1);
                }
                if (pressed && !long_sent && now - pressed_at >= 800) {
                    long_sent = true;
                    emit(3);
                }
                if (pressed && force < CONFIG_SK_PRESS_THRESHOLD * .55f) {
                    emit(long_sent ? 4 : 2);
                    pressed = false;
                }
                if (!pressed && force < CONFIG_SK_PRESS_THRESHOLD * .2f)
                    zero += .001f * (filtered - zero);
            }
        } else if (rc != -EAGAIN || now - last_sample > 1500)
            atomic_set(&strain_fault, 1);
        k_sleep(K_MSEC(2));
    }
}
int strain_start(void) {
    if (!gpio_is_ready_dt(&strain_data) || !gpio_is_ready_dt(&strain_clock))
        return -ENODEV;
    int rc = gpio_pin_configure_dt(&strain_data, GPIO_INPUT);
    if (rc)
        return rc;
    rc = gpio_pin_configure_dt(&strain_clock, GPIO_OUTPUT_INACTIVE);
    if (rc)
        return rc;
    k_thread_create(&strain_thread, strain_stack, K_THREAD_STACK_SIZEOF(strain_stack), strain_run,
                    NULL, NULL, NULL, 6, K_FP_REGS, K_NO_WAIT);
    return 0;
}
bool strain_tare(void) {
    atomic_set(&tare_requested, 1);
    return true;
}
uint8_t strain_event(void) {
    uint8_t e = 0;
    k_msgq_get(&press_events, &e, K_NO_WAIT);
    return e;
}
bool strain_failed(void) {
    return atomic_get(&strain_fault) != 0;
}
```

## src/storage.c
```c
#include "hardware.h"
#include <math.h>
#include <string.h>
#include <zephyr/drivers/flash.h>
#include <zephyr/kvss/nvs.h>
#include <zephyr/storage/flash_map.h>
static struct nvs_fs fs;
static bool ready;
int storage_init(void) {
    fs.flash_device = PARTITION_NODE_DEVICE(DT_NODELABEL(storage_partition));
    fs.offset = PARTITION_NODE_OFFSET(DT_NODELABEL(storage_partition));
    fs.sector_size = 32768;
    fs.sector_count = PARTITION_NODE_SIZE(DT_NODELABEL(storage_partition)) / fs.sector_size;
    int rc = nvs_mount(&fs);
    ready = !rc;
    return rc;
}
size_t storage_load(uint8_t *out, size_t max) {
    if (!ready)
        return 0;
    ssize_t len = nvs_read(&fs, 1, out, max);
    return len > 0 && (size_t)len <= max ? (size_t)len : 0;
}
bool storage_save(const uint8_t *data, size_t len) {
    if (!ready || len > SK_MAX_BUNDLE)
        return false;
    ssize_t rc = nvs_write(&fs, 1, data, len);
    /* NVS returns zero for an identical value. Commit metadata and CRC are
     * written after the payload, retaining the preceding record on power loss. */
    return rc == 0 || rc == (ssize_t)len;
}
bool storage_load_calibration(sk_calibration *out) {
    if (!ready)
        return false;
    uint8_t record[16];
    if (nvs_read(&fs, 2, record, sizeof(record)) != sizeof(record) || memcmp(record, "SKC1", 4))
        return false;
    uint32_t crc;
    memcpy(&crc, record + 12, 4);
    if (crc != sk_crc32(record, 12))
        return false;
    memcpy(&out->zero_electrical, record + 4, 4);
    out->pole_pairs = record[8];
    out->direction = (int8_t)record[9];
    out->valid = isfinite(out->zero_electrical) && fabsf(out->zero_electrical) <= SK_TAU &&
                 out->pole_pairs >= 3 && out->pole_pairs <= 12 &&
                 (out->direction == 1 || out->direction == -1);
    return out->valid;
}
bool storage_save_calibration(const sk_calibration *c) {
    if (!ready || !c->valid)
        return false;
    uint8_t record[16] = {0};
    memcpy(record, "SKC1", 4);
    memcpy(record + 4, &c->zero_electrical, 4);
    record[8] = c->pole_pairs;
    record[9] = c->direction;
    uint32_t crc = sk_crc32(record, 12);
    memcpy(record + 12, &crc, 4);
    ssize_t rc = nvs_write(&fs, 2, record, sizeof(record));
    return rc == 0 || rc == sizeof(record);
}
```
